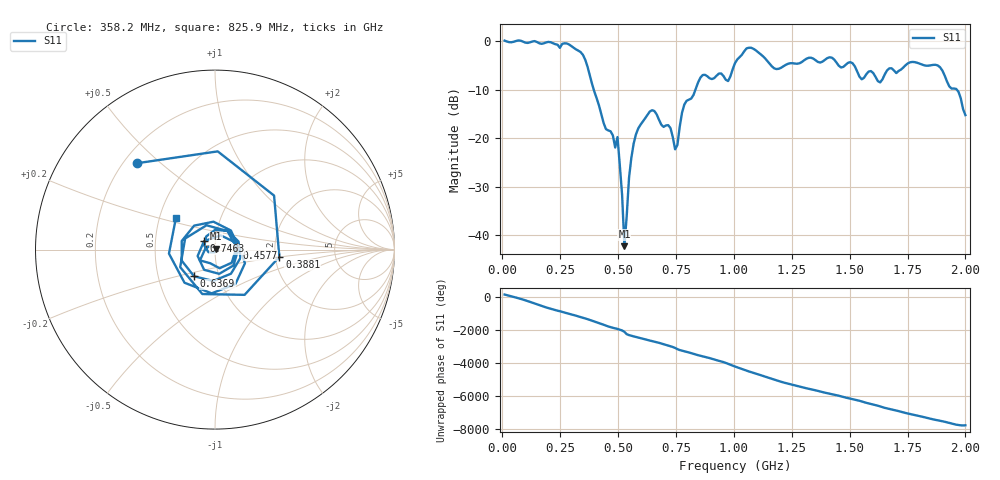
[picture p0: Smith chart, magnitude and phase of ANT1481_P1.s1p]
!Created with skrf (http://scikit-rf.org).
# Hz S RI R 50.0
!freq ReS11 ImS11
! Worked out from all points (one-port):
!   201 points, 10 MHz to 2 GHz, reference 50 ohm
!   lowest |S11| = -42.2 dB at 527.4 MHz (marker M1), VSWR 1.02, Z = 50.6 + j0.512 ohm
!   |S11| at or under -10 dB: 395.4 MHz to 834 MHz (438.6 MHz wide, 71.4 % of centre); 1.964 GHz to end of sweep
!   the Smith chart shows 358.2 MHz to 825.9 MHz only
!   S11 on the Smith chart (normalised r, x): 358.2 MHz: 0.25, +0.42; 388.1 MHz: 2.11, -0.20; 457.8 MHz: 1.27, +0.03; 636.9 MHz: 0.76, -0.23; 746.3 MHz: 0.88, +0.08; 825.9 MHz: 0.61, +0.23
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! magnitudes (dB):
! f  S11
! 10 MHz  0.2
! 258.8 MHz  -0.5
! 358.2 MHz  -3.8
! 388.1 MHz  -8.9
! 457.8 MHz  -18.4
! 487.6 MHz  -21.9
! 497.6 MHz  -19.7
! 507.5 MHz  -25.5
! 527.4 MHz  -42.2
! 547.3 MHz  -28.2
! 567.2 MHz  -21.1
! 636.9 MHz  -14.5
! 726.4 MHz  -17.9
! 746.3 MHz  -22.3
! 756.2 MHz  -21.4
! 786.1 MHz  -13.0
! 825.9 MHz  -11.0
! 865.7 MHz  -6.9
! 975.1 MHz  -8.2
! 1.005 GHz  -4.5
! 1.065 GHz  -1.3
! 1.174 GHz  -5.5
! 1.254 GHz  -4.5
! 1.502 GHz  -4.3
! 1.632 GHz  -8.5
! 1.751 GHz  -4.5
! 1.891 GHz  -5.3
! 2 GHz  -15.2
